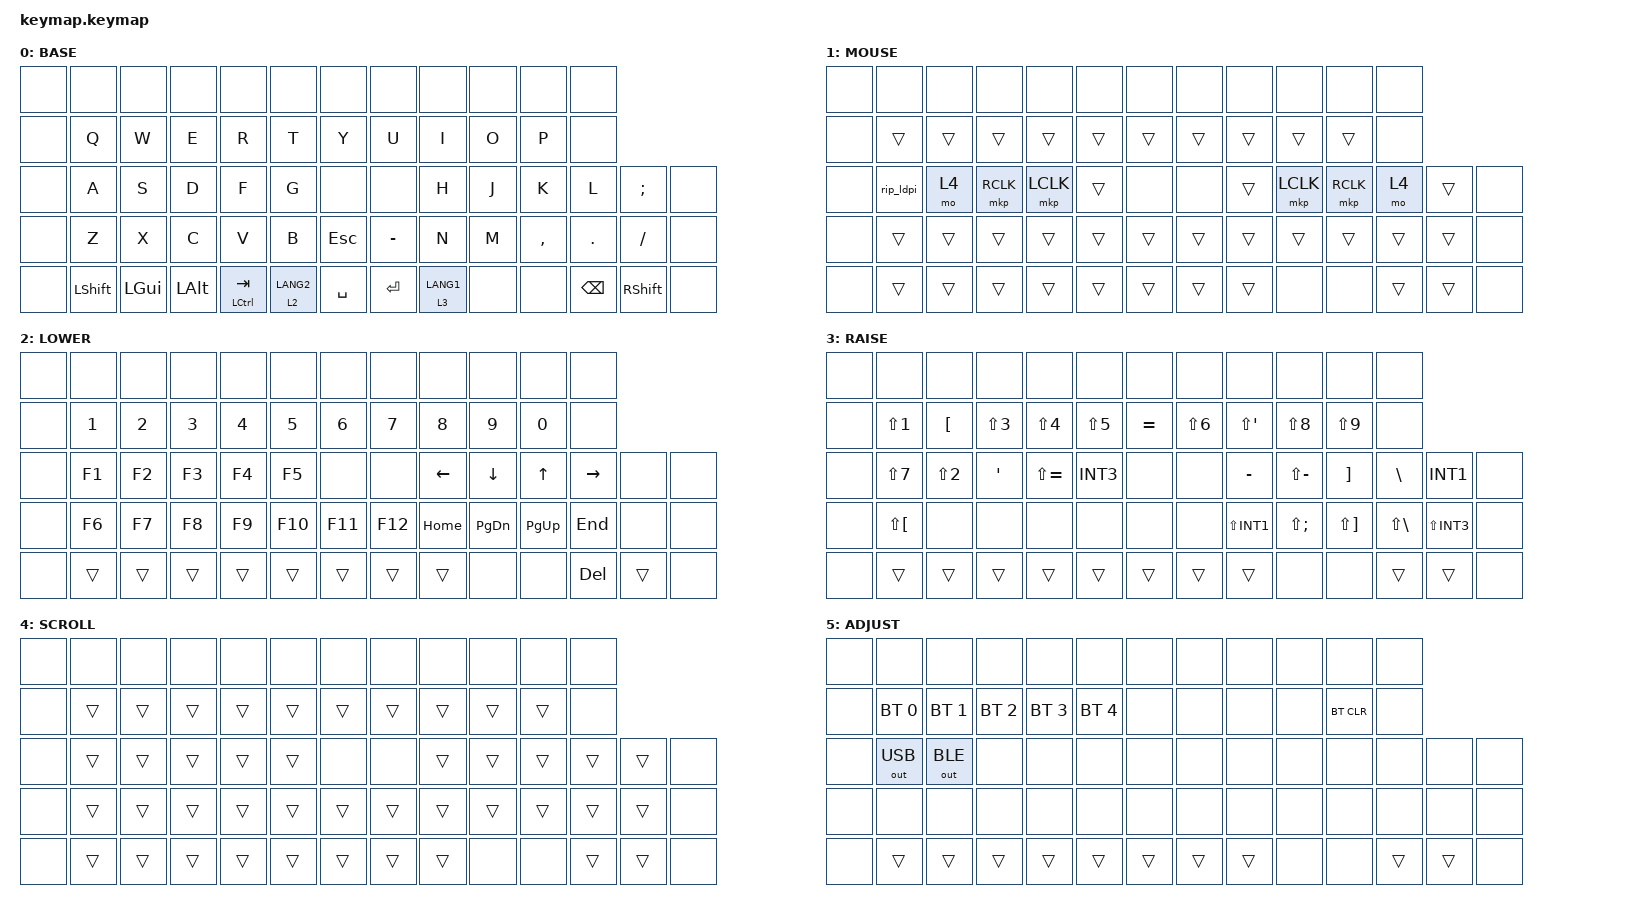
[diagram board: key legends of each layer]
#include <behaviors.dtsi>
#include <dt-bindings/zmk/bt.h>
#include <dt-bindings/zmk/keys.h>
#include <dt-bindings/zmk/outputs.h>
#include <dt-bindings/zmk/pointing.h>
#include <behaviors/runtime-input-processor.dtsi>

// torabo-tsuki LP XS 用キーマップ (案 C: 統計型 / LOWER・RAISE・ADJUST の定番構成)
// - 位置は L 配列の 66 個の通し番号で並べている。XS に無い位置は &none
// - XS の右手最下段は、ボールのため真ん中の 2 キー (L61, L62) が無い
// - レイヤー: 0 BASE / 1 MOUSE / 2 LOWER / 3 RAISE / 4 SCROLL / 5 ADJUST
//   (MOUSE=1 と SCROLL=4 は runtime input processor の設定と対応しているので番号を変えない)

// ---- OS の配列が JIS のときの記号 (ZMK のキー名は US 配列基準のため読み替える) ----
#define JP_EXCL  LS(N1)        // !
#define JP_DQT   LS(N2)        // "
#define JP_HASH  LS(N3)        // #
#define JP_DLLR  LS(N4)        // $
#define JP_PRCNT LS(N5)        // %
#define JP_AMPS  LS(N6)        // &
#define JP_SQT   LS(N7)        // '
#define JP_LPAR  LS(N8)        // (
#define JP_RPAR  LS(N9)        // )
#define JP_MINUS MINUS         // -
#define JP_EQUAL LS(MINUS)     // =
#define JP_CARET EQUAL         // ^
#define JP_TILDE LS(EQUAL)     // ~
#define JP_YEN   INT3          // ¥
#define JP_PIPE  LS(INT3)      // |
#define JP_AT    LBKT          // @
#define JP_GRAVE LS(LBKT)      // `
#define JP_LBKT  RBKT          // [
#define JP_LBRC  LS(RBKT)      // {
#define JP_RBKT  BSLH          // ]  (Mac は要確認。出ない場合は NON_US_HASH)
#define JP_RBRC  LS(BSLH)      // }
#define JP_COLON SQT           // :
#define JP_STAR  LS(SQT)       // *
#define JP_PLUS  LS(SEMI)      // +
#define JP_LT    LS(COMMA)     // <
#define JP_GT    LS(DOT)       // >
#define JP_SLASH SLASH         // /
#define JP_QMARK LS(SLASH)     // ?
#define JP_BSLH  INT1          // \ (ろ)
#define JP_UNDER LS(INT1)      // _

// ---- トラックボールの初期設定 (DYA Studio から実行時に変更・保存できる) ----
// オートマウスレイヤー: ボールを動かすと layer 1 (MOUSE) を自動で有効化
//   activation-delay   : 直前のキー入力からこの時間はAMLを発動しない(タイピング中の誤発動防止)
//   deactivation-delay : ボールを止めてからAMLを解除するまでの時間
//   MOUSE レイヤーで &trans 以外のキー(クリック等)や修飾キーを押してもAMLは解除されない
// ポインタ速度: 0.5 倍 (DYA Studio で保存した値があればそちらが優先される)
&mouse_runtime_input_processor {
    scale-multiplier = <1>;
    scale-divisor = <2>;
    temp-layer-enabled;
    temp-layer = <1>;
    temp-layer-activation-delay-ms = <200>;
    temp-layer-deactivation-delay-ms = <800>;
};

// スクロール: layer 4 (SCROLL) が有効な間だけボールの動きをスクロールに変換
&scroll_runtime_input_processor {
    active-layers = <(1 << 4)>;
    scale-multiplier = <1>;
    scale-divisor = <8>;
};

// 精密モード: 押している間ポインタ速度を 1/4 にする (全体速度 0.5 の半分。全体速度とは別の固定値)
&rip_ldpi {
    display-name = "Precision (0.25x)";
    scale-multiplier = <1>;
    scale-divisor = <4>;
};

// ---- タップ / ホールドの判定 ----
// Tab/Ctrl(左外側の親指), 英数/LOWER, かな/RAISE: 他のキーを押して離すまで続けたらホールド
&mt {
    flavor = "balanced";
    tapping-term-ms = <200>;
    quick-tap-ms = <150>;
};

&lt {
    flavor = "balanced";
    tapping-term-ms = <200>;
    quick-tap-ms = <150>;
};

/ {
    conditional_layers {
        compatible = "zmk,conditional-layers";
        // 英数(LOWER) と かな(RAISE) を同時にホールドすると ADJUST
        adjust {
            if-layers = <2 3>;
            then-layer = <5>;
        };
    };

    keymap {
        compatible = "zmk,keymap";

        layer_0 {
            display-name = "BASE";
            bindings = <
&none          &none          &none          &none          &none          &none          &none          &none          &none          &none          &none          &none
&none          &kp Q          &kp W          &kp E          &kp R          &kp T          &kp Y          &kp U          &kp I          &kp O          &kp P          &none
&none          &kp A          &kp S          &kp D          &kp F          &kp G          &none          &none          &kp H          &kp J          &kp K          &kp L          &kp SEMI       &none
&none          &kp Z          &kp X          &kp C          &kp V          &kp B          &kp ESC        &kp MINUS      &kp N          &kp M          &kp COMMA      &kp DOT        &kp SLASH      &none
&none          &kp LSHFT      &kp LGUI       &kp LALT       &mt LCTRL TAB  &lt 2 LANG2    &kp SPACE      &kp ENTER      &lt 3 LANG1    &none          &none          &kp BSPC       &kp RSHFT      &none
            >;
        };

        layer_1 {
            display-name = "MOUSE";
            bindings = <
&none      &none      &none      &none      &none      &none      &none      &none      &none      &none      &none      &none
&none      &trans     &trans     &trans     &trans     &trans     &trans     &trans     &trans     &trans     &trans     &none
&none      &rip_ldpi  &mo 4      &mkp RCLK  &mkp LCLK  &trans     &none      &none      &trans     &mkp LCLK  &mkp RCLK  &mo 4      &trans     &none
&none      &trans     &trans     &trans     &trans     &trans     &trans     &trans     &trans     &trans     &trans     &trans     &trans     &none
&none      &trans     &trans     &trans     &trans     &trans     &trans     &trans     &trans     &none      &none      &trans     &trans     &none
            >;
        };

        layer_2 {
            display-name = "LOWER";
            bindings = <
&none      &none      &none      &none      &none      &none      &none      &none      &none      &none      &none      &none
&none      &kp N1     &kp N2     &kp N3     &kp N4     &kp N5     &kp N6     &kp N7     &kp N8     &kp N9     &kp N0     &none
&none      &kp F1     &kp F2     &kp F3     &kp F4     &kp F5     &none      &none      &kp LEFT   &kp DOWN   &kp UP     &kp RIGHT  &none      &none
&none      &kp F6     &kp F7     &kp F8     &kp F9     &kp F10    &kp F11    &kp F12    &kp HOME   &kp PG_DN  &kp PG_UP  &kp END    &none      &none
&none      &trans     &trans     &trans     &trans     &trans     &trans     &trans     &trans     &none      &none      &kp DEL    &trans     &none
            >;
        };

        layer_3 {
            display-name = "RAISE";
            bindings = <
&none         &none         &none         &none         &none         &none         &none         &none         &none         &none         &none         &none
&none         &kp JP_EXCL   &kp JP_AT     &kp JP_HASH   &kp JP_DLLR   &kp JP_PRCNT  &kp JP_CARET  &kp JP_AMPS   &kp JP_STAR   &kp JP_LPAR   &kp JP_RPAR   &none
&none         &kp JP_SQT    &kp JP_DQT    &kp JP_COLON  &kp JP_TILDE  &kp JP_YEN    &none         &none         &kp JP_MINUS  &kp JP_EQUAL  &kp JP_LBKT   &kp JP_RBKT   &kp JP_BSLH   &none
&none         &kp JP_GRAVE  &none         &none         &none         &none         &none         &none         &kp JP_UNDER  &kp JP_PLUS   &kp JP_LBRC   &kp JP_RBRC   &kp JP_PIPE   &none
&none         &trans        &trans        &trans        &trans        &trans        &trans        &trans        &trans        &none         &none         &trans        &trans        &none
            >;
        };

        layer_4 {
            display-name = "SCROLL";
            bindings = <
&none   &none   &none   &none   &none   &none   &none   &none   &none   &none   &none   &none
&none   &trans  &trans  &trans  &trans  &trans  &trans  &trans  &trans  &trans  &trans  &none
&none   &trans  &trans  &trans  &trans  &trans  &none   &none   &trans  &trans  &trans  &trans  &trans  &none
&none   &trans  &trans  &trans  &trans  &trans  &trans  &trans  &trans  &trans  &trans  &trans  &trans  &none
&none   &trans  &trans  &trans  &trans  &trans  &trans  &trans  &trans  &none   &none   &trans  &trans  &none
            >;
        };

        layer_5 {
            display-name = "ADJUST";
            bindings = <
&none         &none         &none         &none         &none         &none         &none         &none         &none         &none         &none         &none
&none         &bt BT_SEL 0  &bt BT_SEL 1  &bt BT_SEL 2  &bt BT_SEL 3  &bt BT_SEL 4  &none         &none         &none         &none         &bt BT_CLR    &none
&none         &out OUT_USB  &out OUT_BLE  &none         &none         &none         &none         &none         &none         &none         &none         &none         &none         &none
&none         &none         &none         &none         &none         &none         &none         &none         &none         &none         &none         &none         &none         &none
&none         &trans        &trans        &trans        &trans        &trans        &trans        &trans        &trans        &none         &none         &trans        &trans        &none
            >;
        };
    };
};

